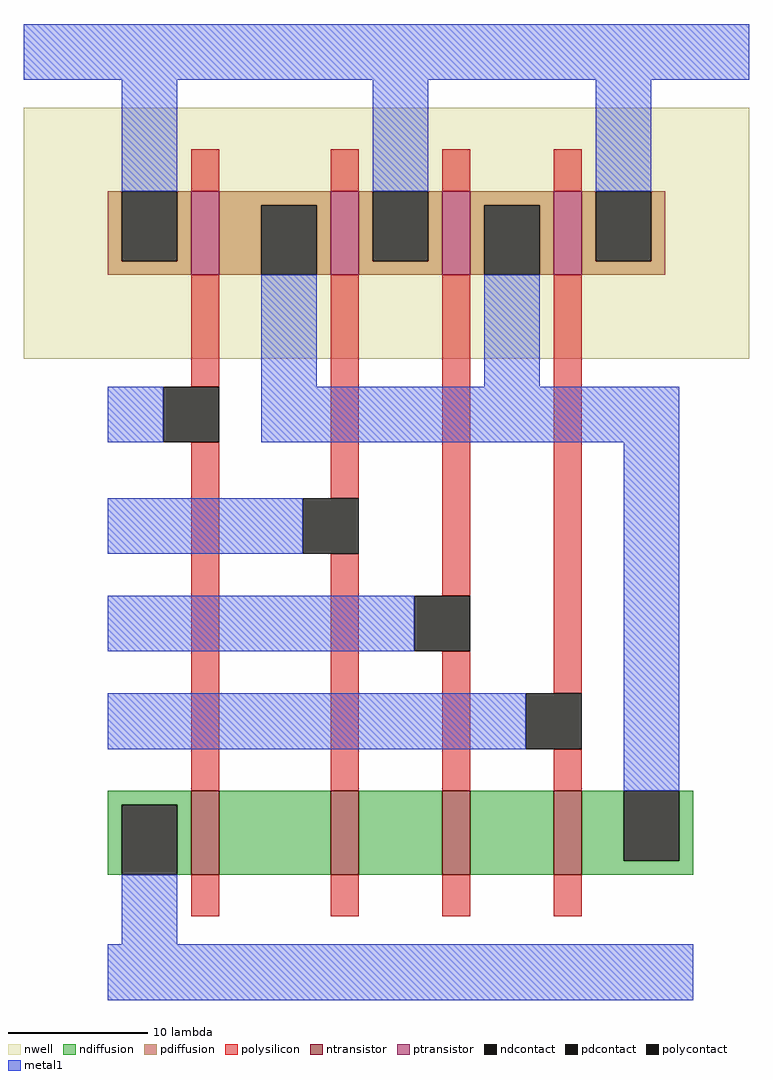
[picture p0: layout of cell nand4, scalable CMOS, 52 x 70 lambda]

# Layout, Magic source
magic
tech scmos
<< nwell >>
rect 0 0 52 18
<< ntransistor >>
rect 12 -37 14 -31
rect 22 -37 24 -31
rect 30 -37 32 -31
rect 38 -37 40 -31
<< ptransistor >>
rect 12 6 14 12
rect 22 6 24 12
rect 30 6 32 12
rect 38 6 40 12
<< ndiffusion >>
rect 6 -32 12 -31
rect 6 -37 7 -32
rect 11 -37 12 -32
rect 14 -37 22 -31
rect 24 -37 30 -31
rect 32 -37 38 -31
rect 40 -36 43 -31
rect 47 -36 48 -31
rect 40 -37 48 -36
<< pdiffusion >>
rect 6 7 7 12
rect 11 7 12 12
rect 6 6 12 7
rect 14 11 22 12
rect 14 6 17 11
rect 21 6 22 11
rect 24 7 25 12
rect 29 7 30 12
rect 24 6 30 7
rect 32 11 38 12
rect 32 6 33 11
rect 37 6 38 11
rect 40 7 41 12
rect 45 7 46 12
rect 40 6 46 7
<< ndcontact >>
rect 7 -37 11 -32
rect 43 -36 47 -31
<< pdcontact >>
rect 7 7 11 12
rect 17 6 21 11
rect 25 7 29 12
rect 33 6 37 11
rect 41 7 45 12
<< polysilicon >>
rect 12 12 14 15
rect 22 12 24 15
rect 30 12 32 15
rect 38 12 40 15
rect 12 -2 14 6
rect 12 -31 14 -6
rect 22 -10 24 6
rect 22 -31 24 -14
rect 30 -17 32 6
rect 30 -31 32 -21
rect 38 -24 40 6
rect 38 -31 40 -28
rect 12 -40 14 -37
rect 22 -40 24 -37
rect 30 -40 32 -37
rect 38 -40 40 -37
<< polycontact >>
rect 10 -6 14 -2
rect 20 -14 24 -10
rect 28 -21 32 -17
rect 36 -28 40 -24
<< metal1 >>
rect 0 20 52 24
rect 7 12 11 20
rect 25 12 29 20
rect 41 12 45 20
rect 17 -2 21 6
rect 33 -2 37 6
rect 6 -6 10 -2
rect 17 -6 47 -2
rect 6 -14 20 -10
rect 6 -21 28 -17
rect 6 -28 36 -24
rect 43 -31 47 -6
rect 7 -42 11 -37
rect 6 -46 48 -42
<< end >>
